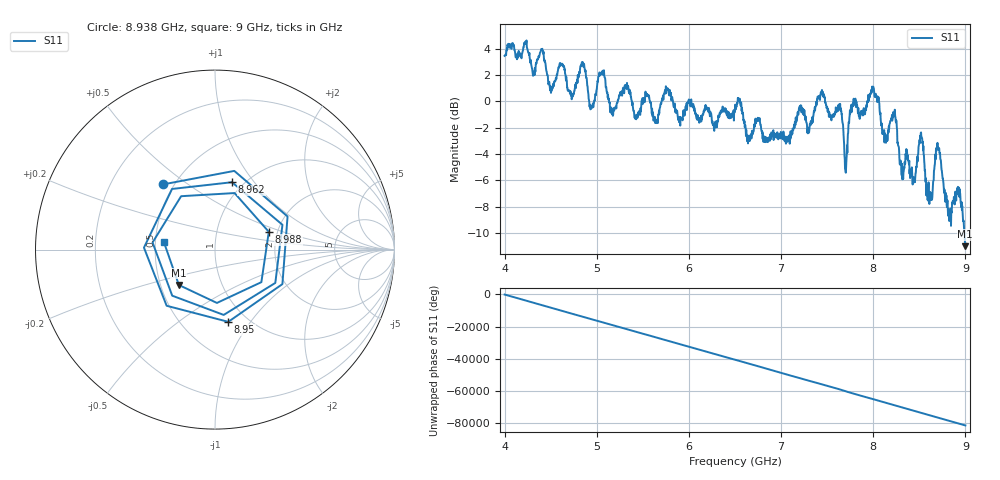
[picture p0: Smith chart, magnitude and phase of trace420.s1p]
! Created with skrf 1.8.0 (http://scikit-rf.org).
# Hz S RI R 50.0
!freq ReS11 ImS11
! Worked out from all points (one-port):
!   1601 points, 4 GHz to 9 GHz, reference 50 ohm
!   lowest |S11| = -11.0 dB at 8.997 GHz (marker M1), VSWR 1.78, Z = 31.1 - j13.3 ohm
!   |S11| at or under -10 dB: 8.98789 GHz to end of sweep
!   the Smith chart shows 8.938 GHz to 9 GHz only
!   S11 on the Smith chart (normalised r, x): 8.938 GHz: 0.44, +0.41; 8.95 GHz: 0.82, -0.79; 8.962 GHz: 0.89, +0.78; 8.988 GHz: 1.80, +0.40; 9 GHz: 0.55, +0.05
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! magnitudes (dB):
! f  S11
! 4 GHz  3.4
! 4.625 GHz  2.8
! 4.731 GHz  0.3
! 4.853 GHz  2.7
! 4.944 GHz  -0.5
! 5.053 GHz  2.2
! 5.162 GHz  -0.9
! 5.25 GHz  0.5
! 5.875 GHz  -1.0
! 6.5 GHz  -0.5
! 7.125 GHz  -2.1
! 7.45 GHz  0.7
! 7.638 GHz  -0.4
! 7.703 GHz  -5.4
! 7.75 GHz  -0.9
! 8.003 GHz  1.0
! 8.375 GHz  -4.1
! 8.447 GHz  -6.2
! 8.519 GHz  -2.4
! 8.612 GHz  -6.9
! 8.706 GHz  -3.5
! 8.822 GHz  -8.6
! 8.938 GHz  -6.7
! 8.95 GHz  -7.8
! 8.962 GHz  -8.2
! 8.988 GHz  -10.0
! 8.997 GHz  -11.0
! 9 GHz  -10.8
